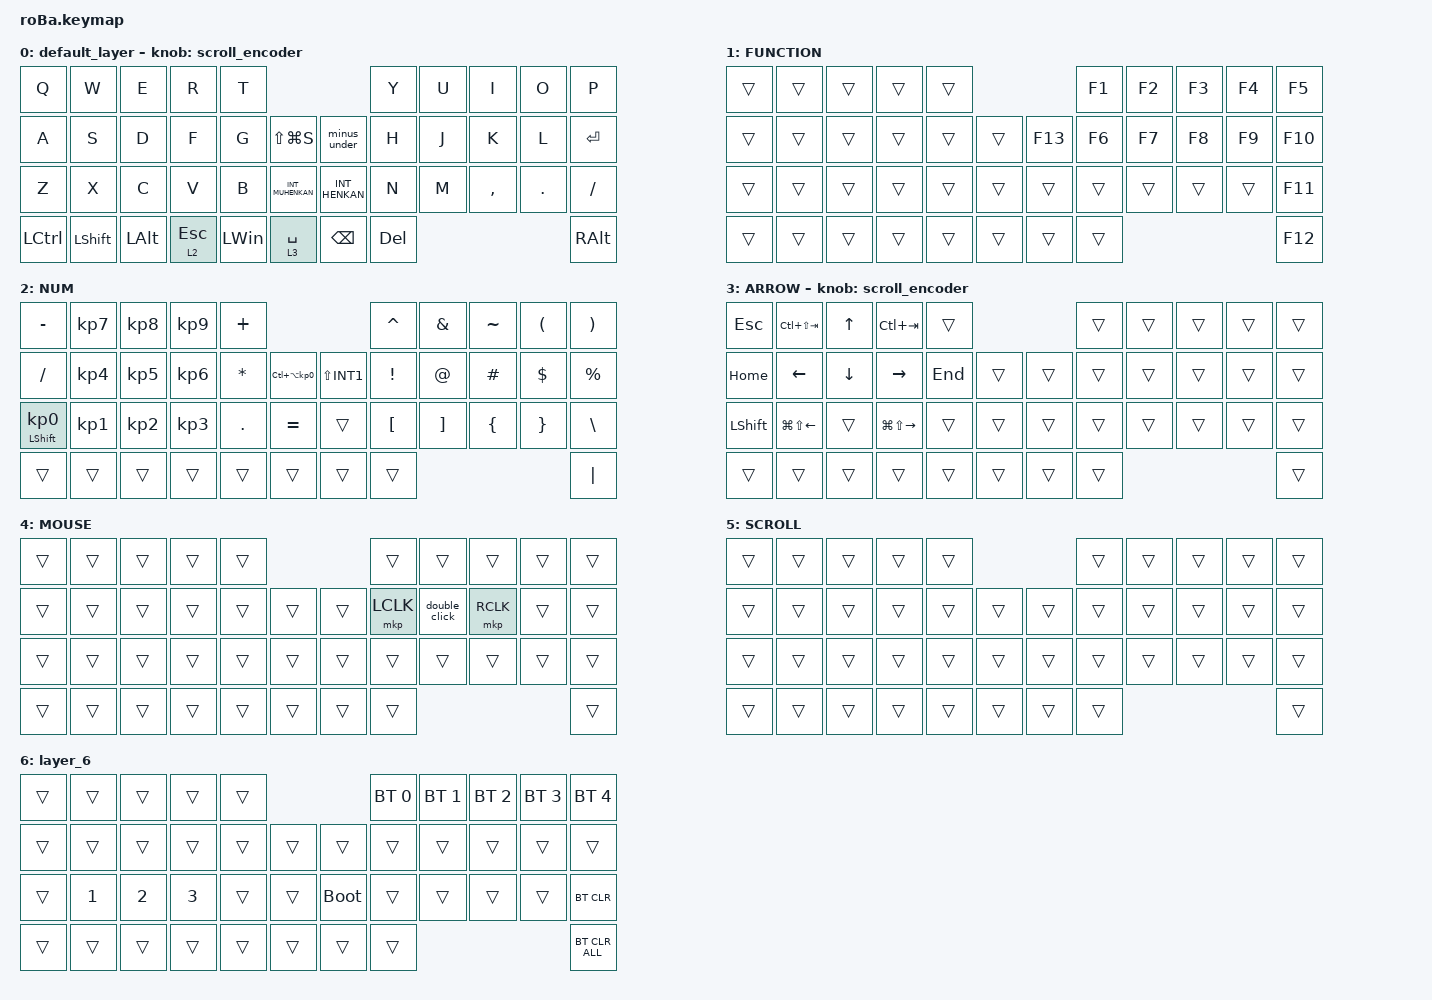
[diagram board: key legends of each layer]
#include <behaviors.dtsi>
#include <dt-bindings/zmk/bt.h>
#include <dt-bindings/zmk/keys.h>
#include <dt-bindings/zmk/pointing.h>

#define ZMK_POINTING_DEFAULT_SCRL_VAL 160

&mt {
    flavor = "balanced";
    quick-tap-ms = <0>;
};

&trackball {
    automouse-layer = <4>;
    scroll-layers = <5>;

    // arrows {
    //     layers = <3>;
    //     bindings =
    //         <&kp RIGHT_ARROW>,
    //         <&kp LEFT_ARROW>,
    //         <&kp UP_ARROW>,
    //         <&kp DOWN_ARROW>;
    //     tick = <10>;
    //     wait-ms = <5>;
    //     tap-ms = <5>;
    // };
};

/ {
    combos {
        compatible = "zmk,combos";

        tab {
            bindings = <&kp TAB>;
            key-positions = <11 12>;
        };

        shift_tab {
            bindings = <&kp LS(TAB)>;
            key-positions = <12 13>;
        };

        muhennkann {
            bindings = <&to_layer_0 INT_MUHENKAN>;
            key-positions = <11 10>;
        };

        double_quotation {
            bindings = <&kp DOUBLE_QUOTES>;
            key-positions = <20 21>;
        };

        eq {
            bindings = <&kp EQUAL>;
            key-positions = <24 25>;
        };
    };

    macros {
        to_layer_0: to_layer_0 {
            compatible = "zmk,behavior-macro-one-param";
            #binding-cells = <1>;
            bindings = <&to 0 &macro_param_1to1 &kp MACRO_PLACEHOLDER>;
            label = "TO_LAYER_0";
        };

        double_click: double_click {
            compatible = "zmk,behavior-macro";
            #binding-cells = <0>;
            wait-ms = <60>;
            tap-ms = <30>;
            bindings = <&mkp MB1 &mkp MB1>;
            label = "DOUBLE_CLICK";
        };
    };

    behaviors {
        lt_to_layer_0: lt_to_layer_0 {
            compatible = "zmk,behavior-hold-tap";
            label = "LAYER_TAP_TO_0";
            bindings = <&mo>, <&to_layer_0>;

            #binding-cells = <2>;
            tapping-term-ms = <200>;
        };

        scroll_encoder: scroll_encoder {
            compatible = "zmk,behavior-sensor-rotate";
            label = "SCROLL_ENCODER";
            #sensor-binding-cells = <0>;
        
            bindings = <&msc SCRL_DOWN>, <&msc SCRL_UP>;
        
            tap-ms = <20>;
        };

        minus_under: minus_under {
            compatible = "zmk,behavior-mod-morph";
            #binding-cells = <0>;
        
            bindings = <&kp MINUS>, <&kp LS(INT1)>;
        
            mods = <(MOD_LSFT | MOD_RSFT)>;
        };
    };

    keymap {
        compatible = "zmk,keymap";

        default_layer {
            bindings = <
&kp Q      &kp W           &kp E         &kp R       &kp T                                                 &kp Y       &kp U  &kp I      &kp O    &kp P
&kp A      &kp S           &kp D         &kp F       &kp G           &kp LS(LG(S))         &minus_under       &kp H       &kp J  &kp K      &kp L    &kp ENTER
&kp Z      &kp X           &kp C         &kp V       &kp B           &kp INT_MUHENKAN      &kp INT_HENKAN  &kp N       &kp M  &kp COMMA  &kp DOT  &kp SLASH
&kp LCTRL  &kp LEFT_SHIFT  &kp LEFT_ALT  &lt 2 ESCAPE  &kp LEFT_WIN  &lt 3 SPACE           &kp BACKSPACE   &kp DELETE                             &kp RIGHT_ALT
            >;

            sensor-bindings = <&scroll_encoder>;
        };

        FUNCTION {
            bindings = <
&trans  &trans  &trans  &trans  &trans                       &kp F1  &kp F2  &kp F3  &kp F4  &kp F5
&trans  &trans  &trans  &trans  &trans  &trans      &kp F13  &kp F6  &kp F7  &kp F8  &kp F9  &kp F10
&trans  &trans  &trans  &trans  &trans  &trans      &trans   &trans  &trans  &trans  &trans  &kp F11
&trans  &trans  &trans  &trans  &trans  &trans      &trans   &trans                          &kp F12
            >;
        };

        NUM {
            bindings = <
&kp MINUS                   &kp KP_NUMBER_7  &kp KP_NUMBER_8  &kp KP_NUMBER_9  &kp PLUS                                                   &kp CARET         &kp AMPERSAND      &kp TILDE       &kp LEFT_PARENTHESIS  &kp RIGHT_PARENTHESIS
&kp SLASH                   &kp KP_NUMBER_4  &kp KP_NUMBER_5  &kp KP_NUMBER_6  &kp ASTERISK  &kp LC(LA(KP_NUMBER_0))      &kp LS(INT1)  &kp EXCLAMATION   &kp AT_SIGN        &kp HASH        &kp DOLLAR            &kp PERCENT
&mt LEFT_SHIFT KP_NUMBER_0  &kp KP_NUMBER_1  &kp KP_NUMBER_2  &kp KP_NUMBER_3  &kp PERIOD    &kp EQUAL                    &trans          &kp LEFT_BRACKET  &kp RIGHT_BRACKET  &kp LEFT_BRACE  &kp RIGHT_BRACE       &kp BACKSLASH
&trans                      &trans           &trans           &trans           &trans        &trans                       &trans          &trans                                                                     &kp PIPE
            >;
        };

        ARROW {
            bindings = <
&kp ESCAPE      &kp LC(LS(TAB))         &kp UP_ARROW    &kp LC(TAB)              &trans                       &trans  &trans  &trans  &trans  &trans
&kp HOME        &kp LEFT_ARROW          &kp DOWN_ARROW  &kp RIGHT_ARROW          &kp END  &trans      &trans  &trans  &trans  &trans  &trans  &trans
&kp LEFT_SHIFT  &kp LG(LS(LEFT_ARROW))  &trans          &kp LG(LS(RIGHT_ARROW))  &trans   &trans      &trans  &trans  &trans  &trans  &trans  &trans
&trans          &trans                  &trans          &trans                   &trans   &trans      &trans  &trans                          &trans
            >;

            sensor-bindings = <&scroll_encoder>;
        };

        MOUSE {
            bindings = <
&trans  &trans  &trans  &trans  &trans                      &trans     &trans         &trans     &trans  &trans
&trans  &trans  &trans  &trans  &trans  &trans      &trans  &mkp LCLK  &double_click  &mkp RCLK  &trans  &trans
&trans  &trans  &trans  &trans  &trans  &trans      &trans  &trans     &trans         &trans     &trans  &trans
&trans  &trans  &trans  &trans  &trans  &trans      &trans  &trans                                       &trans
            >;
        };

        SCROLL {
            bindings = <
&trans  &trans  &trans  &trans  &trans                      &trans  &trans  &trans  &trans  &trans
&trans  &trans  &trans  &trans  &trans  &trans      &trans  &trans  &trans  &trans  &trans  &trans
&trans  &trans  &trans  &trans  &trans  &trans      &trans  &trans  &trans  &trans  &trans  &trans
&trans  &trans  &trans  &trans  &trans  &trans      &trans  &trans                          &trans
            >;
        };

        layer_6 {
            bindings = <
&trans  &trans        &trans        &trans        &trans                           &bt BT_SEL 0  &bt BT_SEL 1  &bt BT_SEL 2  &bt BT_SEL 3  &bt BT_SEL 4
&trans  &trans        &trans        &trans        &trans  &trans      &trans       &trans        &trans        &trans        &trans        &trans
&trans  &kp NUMBER_1  &kp NUMBER_2  &kp NUMBER_3  &trans  &trans      &bootloader  &trans        &trans        &trans        &trans        &bt BT_CLR
&trans  &trans        &trans        &trans        &trans  &trans      &trans       &trans                                                  &bt BT_CLR_ALL
            >;
        };
    };
};
